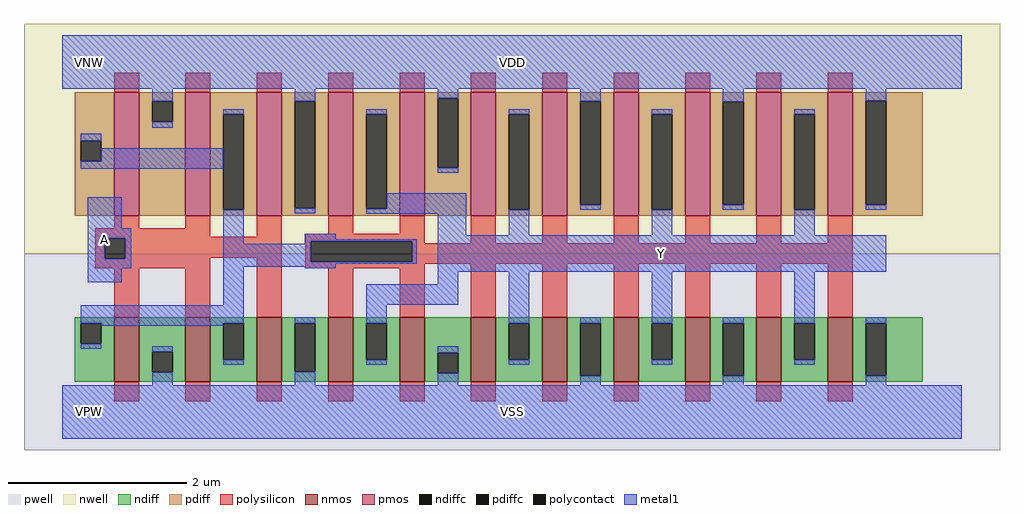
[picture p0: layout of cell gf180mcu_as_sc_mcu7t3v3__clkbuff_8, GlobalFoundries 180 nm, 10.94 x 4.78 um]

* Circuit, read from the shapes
.subckt gf180mcu_as_sc_mcu7t3v3__clkbuff_8 VDD VNW VPW VSS A Y
XM1 VSS A n1 VPW nfet_03v3 w=0.72u l=0.28u m=3
XM2 Y n1 VSS VPW nfet_03v3 w=0.72u l=0.28u m=8
XM3 VDD A n1 VNW pfet_03v3 w=1.38u l=0.28u m=3
XM4 Y n1 VDD VNW pfet_03v3 w=1.38u l=0.28u m=8
.ends

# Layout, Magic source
magic
tech gf180mcuD
magscale 1 10
<< nwell >>
rect -86 354 2102 870
<< pwell >>
rect -86 -86 2102 354
<< nmos >>
rect 116 68 172 212
rect 276 68 332 212
rect 436 68 492 212
rect 596 68 652 212
rect 756 68 812 212
rect 916 68 972 212
rect 1076 68 1132 212
rect 1236 68 1292 212
rect 1396 68 1452 212
rect 1556 68 1612 212
rect 1716 68 1772 212
<< pmos >>
rect 116 440 172 716
rect 276 440 332 716
rect 436 440 492 716
rect 596 440 652 716
rect 756 440 812 716
rect 916 440 972 716
rect 1076 440 1132 716
rect 1236 440 1292 716
rect 1396 440 1452 716
rect 1556 440 1612 716
rect 1716 440 1772 716
<< ndiff >>
rect 28 199 116 212
rect 28 153 41 199
rect 87 153 116 199
rect 28 68 116 153
rect 172 135 276 212
rect 172 89 201 135
rect 247 89 276 135
rect 172 68 276 89
rect 332 199 436 212
rect 332 117 361 199
rect 407 117 436 199
rect 332 68 436 117
rect 492 199 596 212
rect 492 90 521 199
rect 567 90 596 199
rect 492 68 596 90
rect 652 199 756 212
rect 652 117 681 199
rect 727 117 756 199
rect 652 68 756 117
rect 812 133 916 212
rect 812 87 841 133
rect 887 87 916 133
rect 812 68 916 87
rect 972 199 1076 212
rect 972 117 1001 199
rect 1047 117 1076 199
rect 972 68 1076 117
rect 1132 199 1236 212
rect 1132 81 1161 199
rect 1207 81 1236 199
rect 1132 68 1236 81
rect 1292 199 1396 212
rect 1292 117 1321 199
rect 1367 117 1396 199
rect 1292 68 1396 117
rect 1452 199 1556 212
rect 1452 81 1481 199
rect 1527 81 1556 199
rect 1452 68 1556 81
rect 1612 199 1716 212
rect 1612 117 1641 199
rect 1687 117 1716 199
rect 1612 68 1716 117
rect 1772 199 1929 212
rect 1772 81 1801 199
rect 1847 81 1929 199
rect 1772 68 1929 81
<< pdiff >>
rect 28 608 116 716
rect 28 562 41 608
rect 87 562 116 608
rect 28 440 116 562
rect 172 696 276 716
rect 172 650 201 696
rect 247 650 276 696
rect 172 440 276 650
rect 332 667 436 716
rect 332 453 361 667
rect 407 453 436 667
rect 332 440 436 453
rect 492 696 596 716
rect 492 456 521 696
rect 567 456 596 696
rect 492 440 596 456
rect 652 667 756 716
rect 652 455 681 667
rect 727 455 756 667
rect 652 440 756 455
rect 812 703 916 716
rect 812 547 841 703
rect 887 547 916 703
rect 812 440 916 547
rect 972 667 1076 716
rect 972 453 1001 667
rect 1047 453 1076 667
rect 972 440 1076 453
rect 1132 696 1236 716
rect 1132 464 1161 696
rect 1207 464 1236 696
rect 1132 440 1236 464
rect 1292 667 1396 716
rect 1292 453 1321 667
rect 1367 453 1396 667
rect 1292 440 1396 453
rect 1452 695 1556 716
rect 1452 464 1481 695
rect 1527 464 1556 695
rect 1452 440 1556 464
rect 1612 667 1716 716
rect 1612 453 1641 667
rect 1687 453 1716 667
rect 1612 440 1716 453
rect 1772 698 1929 716
rect 1772 464 1801 698
rect 1847 464 1929 698
rect 1772 440 1929 464
<< ndiffc >>
rect 41 153 87 199
rect 201 89 247 135
rect 361 117 407 199
rect 521 90 567 199
rect 681 117 727 199
rect 841 87 887 133
rect 1001 117 1047 199
rect 1161 81 1207 199
rect 1321 117 1367 199
rect 1481 81 1527 199
rect 1641 117 1687 199
rect 1801 81 1847 199
<< pdiffc >>
rect 41 562 87 608
rect 201 650 247 696
rect 361 453 407 667
rect 521 456 567 696
rect 681 455 727 667
rect 841 547 887 703
rect 1001 453 1047 667
rect 1161 464 1207 696
rect 1321 453 1367 667
rect 1481 464 1527 695
rect 1641 453 1687 667
rect 1801 464 1847 698
<< polysilicon >>
rect 116 716 172 760
rect 276 716 332 760
rect 436 716 492 760
rect 596 716 652 760
rect 756 716 812 760
rect 916 716 972 760
rect 1076 716 1132 760
rect 1236 716 1292 760
rect 1396 716 1452 760
rect 1556 716 1612 760
rect 1716 716 1772 760
rect 116 412 172 440
rect 276 412 332 440
rect 74 393 332 412
rect 436 393 492 440
rect 596 399 652 440
rect 756 399 812 440
rect 74 389 492 393
rect 74 343 95 389
rect 141 345 492 389
rect 141 343 332 345
rect 74 322 332 343
rect 116 212 172 322
rect 276 212 332 322
rect 436 212 492 345
rect 544 382 812 399
rect 544 336 557 382
rect 784 378 812 382
rect 916 378 972 440
rect 1076 378 1132 440
rect 1236 378 1292 440
rect 1396 378 1452 440
rect 1556 378 1612 440
rect 1716 378 1772 440
rect 784 336 1772 378
rect 544 332 1772 336
rect 544 322 812 332
rect 596 212 652 322
rect 756 212 812 322
rect 916 212 972 332
rect 1076 212 1132 332
rect 1236 212 1292 332
rect 1396 212 1452 332
rect 1556 212 1612 332
rect 1716 212 1772 332
rect 116 24 172 68
rect 276 24 332 68
rect 436 24 492 68
rect 596 24 652 68
rect 756 24 812 68
rect 916 24 972 68
rect 1076 24 1132 68
rect 1236 24 1292 68
rect 1396 24 1452 68
rect 1556 24 1612 68
rect 1716 24 1772 68
<< polycontact >>
rect 95 343 141 389
rect 557 336 784 382
<< metal1 >>
rect 0 724 2016 844
rect 201 696 247 724
rect 521 696 567 724
rect 201 637 247 650
rect 361 667 407 678
rect 41 608 87 623
rect 87 562 361 591
rect 41 545 361 562
rect 57 412 133 481
rect 57 389 154 412
rect 57 343 95 389
rect 141 343 154 389
rect 57 322 154 343
rect 361 377 407 453
rect 841 703 887 724
rect 521 445 567 456
rect 681 667 727 678
rect 1161 696 1207 724
rect 841 536 887 547
rect 1001 667 1047 678
rect 727 455 905 490
rect 681 444 905 455
rect 543 387 613 399
rect 841 396 905 444
rect 1481 695 1527 724
rect 1161 453 1207 464
rect 1321 667 1367 678
rect 1801 698 1847 724
rect 1481 453 1527 464
rect 1641 667 1687 678
rect 1801 453 1847 464
rect 1001 396 1047 453
rect 1321 396 1367 453
rect 1641 396 1687 453
rect 543 382 795 387
rect 543 377 557 382
rect 361 336 557 377
rect 784 336 795 382
rect 361 332 795 336
rect 361 325 613 332
rect 57 291 133 322
rect 361 239 407 325
rect 543 322 613 325
rect 841 314 1847 396
rect 841 286 888 314
rect 41 199 407 239
rect 681 240 888 286
rect 87 193 361 199
rect 41 142 87 153
rect 201 135 247 147
rect 361 106 407 117
rect 521 199 567 212
rect 201 60 247 89
rect 681 199 727 240
rect 1001 199 1047 314
rect 681 106 727 117
rect 841 133 887 147
rect 521 60 567 90
rect 1001 106 1047 117
rect 1161 199 1207 212
rect 841 60 887 87
rect 1321 199 1367 314
rect 1321 106 1367 117
rect 1481 199 1527 212
rect 1161 60 1207 81
rect 1641 199 1687 314
rect 1641 106 1687 117
rect 1801 199 1847 212
rect 1481 60 1527 81
rect 1801 60 1847 81
rect 0 -60 2016 60
<< labels >>
flabel metal1 s 0 724 2016 844 0 FreeSans 400 0 0 0 VDD
port 1 nsew power bidirectional abutment
flabel metal1 s 0 -60 2016 60 0 FreeSans 400 0 0 0 VSS
port 4 nsew ground bidirectional abutment
flabel nwell s 10 734 110 834 0 FreeSans 400 0 0 0 VNW
port 2 nsew power bidirectional
flabel pwell s 10 -50 110 50 0 FreeSans 400 0 0 0 VPW
port 3 nsew ground bidirectional
flabel metal1 57 291 133 481 0 FreeSans 200 0 0 0 A
port 5 nsew signal input
flabel metal1 841 314 1847 396 0 FreeSans 200 0 0 0 Y
port 6 nsew signal output
<< properties >>
string FIXED_BBOX 0 0 2016 784
string LEFclass CORE
string LEFsite unithd
string LEFsymmetry X Y
string MASKHINTS_NPLUS -16 -46 2032 354
string MASKHINTS_PPLUS -16 354 2032 830
<< end >>
